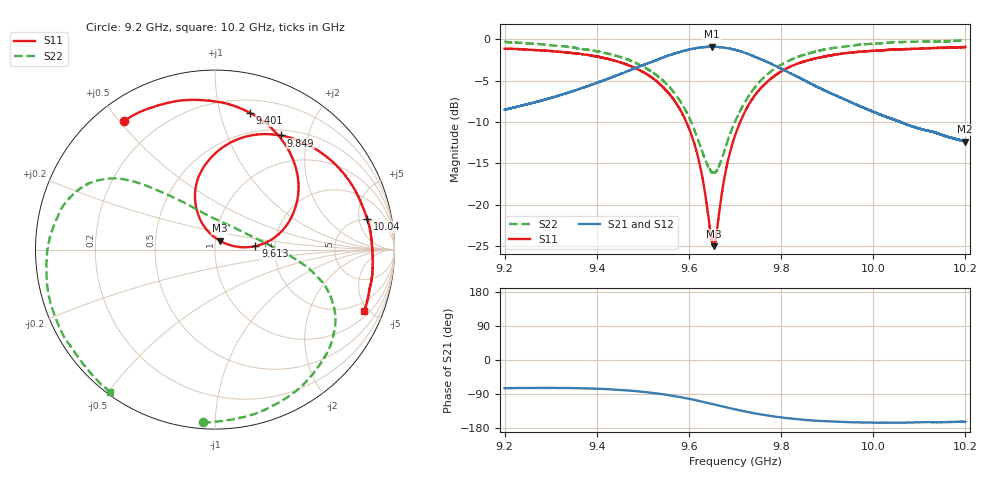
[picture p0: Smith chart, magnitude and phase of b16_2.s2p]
!Agilent Technologies,N5242A,MY51221714,A.09.90.19
!Agilent N5242A: A.09.90.19
!Date: Saturday, December 30, 2023 10:12:40
!Correction: S11(Full 2 Port(1,2))
!S21(Full 2 Port(1,2))
!S12(Full 2 Port(1,2))
!S22(Full 2 Port(1,2))
!S2P File: Measurements: S11, S21, S12, S22:
# Hz S  dB  R 50
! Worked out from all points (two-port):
!   16001 points, 9.2 GHz to 10.2 GHz, reference 50 ohm
!   highest |S21| = -0.89 dB at 9.65 GHz (marker M1); lowest = -12.4 dB at 10.2 GHz (marker M2)
!   |S21| within 3 dB of the highest: 9.465226 GHz to 9.465279 GHz (52.73 kHz wide, 0.000557 % of centre); 9.465 GHz to 9.812 GHz (346.9 MHz wide, 3.6 % of centre)
!   lowest |S11| = -25.0 dB at 9.654 GHz (marker M3), VSWR 1.12, Z = 52.4 + j5.23 ohm
!   |S11| at or under -10 dB: 9.594165 GHz to 9.594247 GHz (81.98 kHz wide, 0.000855 % of centre); 9.594 GHz to 9.711 GHz (117 MHz wide, 1.21 % of centre)
!   |S22| runs from -16.2 to -0.1 dB; largest |S21 - S12| = 0.012
!   S11 on the Smith chart (normalised r, x): 9.2 GHz: 0.08, +0.51; 9.401 GHz: 0.31, +1.24; 9.613 GHz: 1.58, +0.07; 9.849 GHz: 0.57, +1.58; 10.04 GHz: 4.82, +6.59; 10.2 GHz: 1.32, -4.72
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9.2e9  -1.14 125.5  -8.52 -74.5  -8.50 -75.2  -0.31 -94.1
9.277938e9  -1.33 107.4  -7.44 -73.6  -7.42 -74.3  -0.58 -73.1
9.366688e9  -1.78 85.1  -5.93 -74.5  -5.91 -75.2  -1.14 -50.5
9.401375e9  -2.09 75.5  -5.22 -75.8  -5.22 -76.5  -1.44 -42.0
9.476375e9  -3.31 52.5  -3.64 -81.1  -3.63 -81.9  -2.64 -25.9
9.533375e9  -5.24 32.5  -2.42 -88.6  -2.41 -89.2  -4.50 -15.2
9.580062e9  -8.43 14.8  -1.54 -97.8  -1.52 -98.4  -7.41 -5.3
9.613e9  -12.90 5.0  -1.09 -105.8  -1.09 -106.4  -11.12 8.2
9.650125e9  -24.42 43.5  -0.89 -116.0  -0.89 -116.7  -16.06 57.9
9.653875e9  -25.04 62.7  -0.90 -117.0  -0.89 -117.7  -16.18 65.9
9.680438e9  -15.80 116.1  -1.05 -124.6  -1.03 -125.3  -12.89 110.8
9.7e9  -11.66 113.8  -1.26 -130.0  -1.24 -130.7  -9.98 123.7
9.73375e9  -7.54 102.2  -1.89 -138.7  -1.88 -139.5  -6.52 134.7
9.779188e9  -4.71 84.4  -2.98 -147.9  -2.98 -148.8  -3.83 142.5
9.849062e9  -2.69 60.0  -4.90 -157.7  -4.91 -158.5  -1.89 153.4
9.866688e9  -2.41 54.5  -5.41 -159.5  -5.42 -160.1  -1.60 156.4
9.947e9  -1.63 32.1  -7.50 -164.1  -7.50 -164.7  -0.80 172.6
1.003338e10  -1.26 11.7  -9.48 -165.3  -9.48 -166.0  -0.40 -168.0
1.003512e10  -1.25 11.3  -9.52 -165.2  -9.51 -166.0  -0.38 -167.6
1.010994e10  -1.09 -4.2  -10.95 -164.0  -10.94 -164.8  -0.26 -149.5
1.019956e10  -0.92 -22.2  -12.37 -162.9  -12.36 -163.5  -0.15 -126.6
1.02e10  -0.92 -22.3  -12.36 -162.8  -12.36 -163.5  -0.14 -126.5
